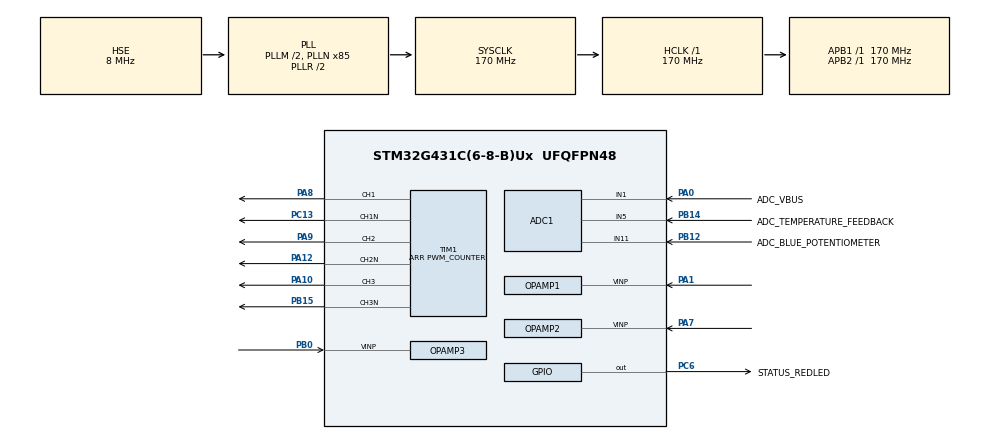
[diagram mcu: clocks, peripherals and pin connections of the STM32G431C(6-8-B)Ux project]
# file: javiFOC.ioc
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ADC1.Channel-0\#ChannelRegularConversion=ADC_CHANNEL_1
ADC1.Channel-1\#ChannelRegularConversion=ADC_CHANNEL_5
ADC1.Channel-2\#ChannelRegularConversion=ADC_CHANNEL_11
ADC1.Channel-3\#ChannelRegularConversion=ADC_CHANNEL_TEMPSENSOR_ADC1
ADC1.Channel-4\#ChannelRegularConversion=ADC_CHANNEL_VREFINT
ADC1.ContinuousConvMode=DISABLE
ADC1.DMAContinuousRequests=ENABLE
ADC1.EOCSelection=ADC_EOC_SEQ_CONV
ADC1.ExternalTrigConv=ADC_EXTERNALTRIG_T15_TRGO
ADC1.NbrOfConversion=5
ADC1.NbrOfConversionFlag=1
ADC1.OffsetNumber-0\#ChannelRegularConversion=ADC_OFFSET_NONE
ADC1.OffsetNumber-1\#ChannelRegularConversion=ADC_OFFSET_NONE
ADC1.OffsetNumber-2\#ChannelRegularConversion=ADC_OFFSET_NONE
ADC1.OffsetNumber-3\#ChannelRegularConversion=ADC_OFFSET_NONE
ADC1.OffsetNumber-4\#ChannelRegularConversion=ADC_OFFSET_NONE
ADC1.Rank-0\#ChannelRegularConversion=1
ADC1.Rank-1\#ChannelRegularConversion=2
ADC1.Rank-2\#ChannelRegularConversion=3
ADC1.Rank-3\#ChannelRegularConversion=4
ADC1.Rank-4\#ChannelRegularConversion=5
ADC1.SamplingTime-0\#ChannelRegularConversion=ADC_SAMPLETIME_24CYCLES_5
ADC1.SamplingTime-1\#ChannelRegularConversion=ADC_SAMPLETIME_24CYCLES_5
ADC1.SamplingTime-2\#ChannelRegularConversion=ADC_SAMPLETIME_24CYCLES_5
ADC1.SamplingTime-3\#ChannelRegularConversion=ADC_SAMPLETIME_24CYCLES_5
ADC1.SamplingTime-4\#ChannelRegularConversion=ADC_SAMPLETIME_24CYCLES_5
ADC1.master=1
ADC2.Channel-0\#ChannelRegularConversion=ADC_CHANNEL_VOPAMP2
ADC2.Channel-1\#ChannelRegularConversion=ADC_CHANNEL_VOPAMP3_ADC2
ADC2.DMAContinuousRequests=ENABLE
ADC2.ExternalTrigConv=ADC_EXTERNALTRIG_T1_TRGO
ADC2.NbrOfConversion=2
ADC2.NbrOfConversionFlag=1
ADC2.OffsetNumber-0\#ChannelRegularConversion=ADC_OFFSET_NONE
ADC2.OffsetNumber-1\#ChannelRegularConversion=ADC_OFFSET_NONE
ADC2.Rank-0\#ChannelRegularConversion=1
ADC2.Rank-1\#ChannelRegularConversion=2
ADC2.SamplingTime-0\#ChannelRegularConversion=ADC_SAMPLETIME_24CYCLES_5
ADC2.SamplingTime-1\#ChannelRegularConversion=ADC_SAMPLETIME_24CYCLES_5
Dma.ADC1.0.Direction=DMA_PERIPH_TO_MEMORY
Dma.ADC1.0.EventEnable=DISABLE
Dma.ADC1.0.Instance=DMA1_Channel1
Dma.ADC1.0.MemDataAlignment=DMA_MDATAALIGN_WORD
Dma.ADC1.0.MemInc=DMA_MINC_ENABLE
Dma.ADC1.0.Mode=DMA_CIRCULAR
Dma.ADC1.0.PeriphDataAlignment=DMA_PDATAALIGN_HALFWORD
Dma.ADC1.0.PeriphInc=DMA_PINC_DISABLE
Dma.ADC1.0.Polarity=HAL_DMAMUX_REQ_GEN_RISING
Dma.ADC1.0.Priority=DMA_PRIORITY_LOW
Dma.ADC1.0.RequestNumber=1
Dma.ADC1.0.SignalID=NONE
Dma.ADC1.0.SyncEnable=DISABLE
Dma.ADC1.0.SyncPolarity=HAL_DMAMUX_SYNC_NO_EVENT
Dma.ADC1.0.SyncRequestNumber=1
Dma.ADC1.0.SyncSignalID=NONE
Dma.ADC2.1.Direction=DMA_PERIPH_TO_MEMORY
Dma.ADC2.1.EventEnable=DISABLE
Dma.ADC2.1.Instance=DMA1_Channel2
Dma.ADC2.1.MemDataAlignment=DMA_MDATAALIGN_WORD
Dma.ADC2.1.MemInc=DMA_MINC_ENABLE
Dma.ADC2.1.Mode=DMA_CIRCULAR
Dma.ADC2.1.PeriphDataAlignment=DMA_PDATAALIGN_HALFWORD
Dma.ADC2.1.PeriphInc=DMA_PINC_DISABLE
Dma.ADC2.1.Polarity=HAL_DMAMUX_REQ_GEN_RISING
Dma.ADC2.1.Priority=DMA_PRIORITY_LOW
Dma.ADC2.1.RequestNumber=1
Dma.ADC2.1.SignalID=NONE
Dma.ADC2.1.SyncEnable=DISABLE
Dma.ADC2.1.SyncPolarity=HAL_DMAMUX_SYNC_NO_EVENT
Dma.ADC2.1.SyncRequestNumber=1
Dma.ADC2.1.SyncSignalID=NONE
Dma.Request0=ADC1
Dma.Request1=ADC2
Mcu.Family=STM32G4
Mcu.Name=STM32G431C(6-8-B)Ux
Mcu.Package=UFQFPN48
Mcu.UserConstants=PWM_PREESCALER,17-1;PWM_COUNTER,250-1;SLOW_ADC_PREESCALER,17000-1;PWM_DEADTIME,37;SLOW_ADC_COUNTER,100-1
NVIC.DMA1_Channel1_IRQn=true\:0\:0\:false\:false\:true\:false\:true\:true
NVIC.DMA1_Channel2_IRQn=true\:0\:0\:false\:false\:true\:false\:true\:true
NVIC.PriorityGroup=NVIC_PRIORITYGROUP_4
NVIC.TIM1_UP_TIM16_IRQn=true\:0\:0\:false\:false\:true\:true\:true\:true
OPAMP1.PgaGain=OPAMP_PGA_GAIN_8_OR_MINUS_7
OPAMP2.PgaGain=OPAMP_PGA_GAIN_8_OR_MINUS_7
OPAMP3.PgaGain=OPAMP_PGA_GAIN_8_OR_MINUS_7
PA0.GPIO_Label=ADC_VBUS
PA0.Mode=IN1-Single-Ended
PA0.Signal=ADC1_IN1
PA1.Mode=PGA_Internally_Connected
PA1.Signal=OPAMP1_VINP
PA10.Signal=S_TIM1_CH3
PA12.Mode=PWM Generation2 CH2 CH2N
PA12.Signal=TIM1_CH2N
PA13.Mode=Serial_Wire
PA13.Signal=SYS_JTMS-SWDIO
PA14.Mode=Serial_Wire
PA14.Signal=SYS_JTCK-SWCLK
PA7.Mode=PGA_Internally_Connected
PA7.Signal=OPAMP2_VINP
PA8.Signal=S_TIM1_CH1
PA9.Signal=S_TIM1_CH2
PB0.Mode=PGA_Internally_Connected
PB0.Signal=OPAMP3_VINP
PB12.GPIO_Label=ADC_BLUE_POTENTIOMETER
PB12.Mode=IN11-Single-Ended
PB12.Signal=ADC1_IN11
PB14.GPIO_Label=ADC_TEMPERATURE_FEEDBACK
PB14.Mode=IN5-Single-Ended
PB14.Signal=ADC1_IN5
PB15.Mode=PWM Generation3 CH3 CH3N
PB15.Signal=TIM1_CH3N
PC13.Mode=PWM Generation1 CH1 CH1N
PC13.Signal=TIM1_CH1N
PC6.GPIO_Label=STATUS_REDLED
PC6.GPIO_PuPd=GPIO_PULLDOWN
PC6.Signal=GPIO_Output
PF0-OSC_IN.Mode=HSE-External-Oscillator
PF0-OSC_IN.Signal=RCC_OSC_IN
PF1-OSC_OUT.Mode=HSE-External-Oscillator
PF1-OSC_OUT.Signal=RCC_OSC_OUT
ProjectManager.HeapSize=0x200
ProjectManager.StackSize=0x400
ProjectManager.TargetToolchain=STM32CubeIDE
RCC.ADC12Freq_Value=170000000
RCC.AHBFreq_Value=170000000
RCC.APB1Freq_Value=170000000
RCC.APB1TimFreq_Value=170000000
RCC.APB2Freq_Value=170000000
RCC.APB2TimFreq_Value=170000000
RCC.CortexFreq_Value=170000000
RCC.EXTERNAL_CLOCK_VALUE=12288000
RCC.HCLKFreq_Value=170000000
RCC.HSE_VALUE=8000000
RCC.HSI48_VALUE=48000000
RCC.HSI_VALUE=16000000
RCC.LSE_VALUE=32768
RCC.PLLM=RCC_PLLM_DIV2
RCC.PLLN=85
RCC.PLLSourceVirtual=RCC_PLLSOURCE_HSE
RCC.SYSCLKFreq_VALUE=170000000
RCC.SYSCLKSource=RCC_SYSCLKSOURCE_PLLCLK
RCC.USBFreq_Value=170000000
RCC.VCOOutputFreq_Value=340000000
SH.S_TIM1_CH1.0=TIM1_CH1,PWM Generation1 CH1 CH1N
SH.S_TIM1_CH2.0=TIM1_CH2,PWM Generation2 CH2 CH2N
SH.S_TIM1_CH3.0=TIM1_CH3,PWM Generation3 CH3 CH3N
TIM1.Channel-PWM\ Generation1\ CH1\ CH1N=TIM_CHANNEL_1
TIM1.Channel-PWM\ Generation2\ CH2\ CH2N=TIM_CHANNEL_2
TIM1.Channel-PWM\ Generation3\ CH3\ CH3N=TIM_CHANNEL_3
TIM1.CounterMode=TIM_COUNTERMODE_CENTERALIGNED1
TIM1.DeadTime=PWM_DEADTIME
TIM1.PeriodNoDither=PWM_COUNTER
TIM1.Prescaler=PWM_PREESCALER
TIM1.TIM_MasterOutputTrigger=TIM_TRGO_UPDATE
TIM15.PeriodNoDither=SLOW_ADC_COUNTER
TIM15.Prescaler=SLOW_ADC_PREESCALER
TIM15.TIM_MasterOutputTrigger=TIM_TRGO_UPDATE
VP_ADC1_OPAMP_INTERNAL1.Mode=IN-OPAMP1
VP_ADC1_TempSens_Input.Mode=IN-TempSens
VP_ADC1_Vref_Input.Mode=IN-Vrefint
VP_ADC2_OPAMP_INTERNAL2.Mode=IN-OPAMP2
VP_ADC2_OPAMP_INTERNAL3.Mode=IN-OPAMP3
VP_SYS_VS_DBSignals.Mode=DisableDeadBatterySignals
VP_TIM15_VS_ClockSourceINT.Mode=Internal
VP_TIM1_VS_ClockSourceINT.Mode=Internal
board=custom

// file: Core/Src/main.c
/* USER CODE BEGIN Header */
/**
  ******************************************************************************
  * @file           : main.c
  * @brief          : Main program body
  ******************************************************************************
  * @attention
  *
  * Copyright (c) 2024 STMicroelectronics.
  * All rights reserved.
  *
  * This software is licensed under terms that can be found in the LICENSE file
  * in the root directory of this software component.
  * If no LICENSE file comes with this software, it is provided AS-IS.
  *
  ******************************************************************************
  */
/* USER CODE END Header */
#include "main.h"
#include "adc.h"
#include "dma.h"
#include "opamp.h"
#include "tim.h"
#include "gpio.h"

/* USER CODE BEGIN Includes */
#include "hardware_pwm.h"
#include "hardware_adc.h"
#include "vabctoduty.h"
#include "angle_estimator.h"
#include "hardware_opamp.h"
/* USER CODE END Includes */

/* USER CODE BEGIN PV */
uint32_t superloop_delay_ms=1;
/* USER CODE END PV */

void SystemClock_Config(void);

int main(void)
{

  /* MCU Configuration--------------------------------------------------------*/

  /* Reset of all peripherals, Initializes the Flash interface and the Systick. */
  HAL_Init();

  /* Configure the system clock */
  SystemClock_Config();

  /* Initialize all configured peripherals */
  MX_GPIO_Init();
  MX_DMA_Init();
  MX_TIM1_Init();
  MX_ADC1_Init();
  MX_TIM15_Init();
  MX_ADC2_Init();
  MX_OPAMP1_Init();
  MX_OPAMP2_Init();
  MX_OPAMP3_Init();
  /* USER CODE BEGIN 2 */

  configure_vabc_to_duty_modulator();
  configureHardwareOpAmp(&hopamp1, &hopamp2, &hopamp3);
  configureSlowHardwareADC(&hadc1,&htim15);
  configureFastHardwareADC(&hadc2);
  configureHardwarePWM(&htim1,TIM_CHANNEL_1,TIM_CHANNEL_2,TIM_CHANNEL_3);
  /* USER CODE END 2 */

  /* Infinite loop */
  /* USER CODE BEGIN WHILE */

  while (1)
  {
	  HAL_Delay(superloop_delay_ms);

		 sin_index+=20*adc_variables.bluepotentiometer;
		 cos_index+=20*adc_variables.bluepotentiometer;

		 sector=Calculate_SVPWM_sector_from_index(sin_index);
    /* USER CODE END WHILE */

  }
}

void SystemClock_Config(void)
{
  RCC_OscInitTypeDef RCC_OscInitStruct = {0};
  RCC_ClkInitTypeDef RCC_ClkInitStruct = {0};

  /** Configure the main internal regulator output voltage
  */
  HAL_PWREx_ControlVoltageScaling(PWR_REGULATOR_VOLTAGE_SCALE1_BOOST);

  /** Initializes the RCC Oscillators according to the specified parameters
  * in the RCC_OscInitTypeDef structure.
  */
  RCC_OscInitStruct.OscillatorType = RCC_OSCILLATORTYPE_HSE;
  RCC_OscInitStruct.HSEState = RCC_HSE_ON;
  RCC_OscInitStruct.PLL.PLLState = RCC_PLL_ON;
  RCC_OscInitStruct.PLL.PLLSource = RCC_PLLSOURCE_HSE;
  RCC_OscInitStruct.PLL.PLLM = RCC_PLLM_DIV2;
  RCC_OscInitStruct.PLL.PLLN = 85;
  RCC_OscInitStruct.PLL.PLLP = RCC_PLLP_DIV2;
  RCC_OscInitStruct.PLL.PLLQ = RCC_PLLQ_DIV2;
  RCC_OscInitStruct.PLL.PLLR = RCC_PLLR_DIV2;
  if (HAL_RCC_OscConfig(&RCC_OscInitStruct) != HAL_OK)
  {
    Error_Handler();
  }

  /** Initializes the CPU, AHB and APB buses clocks
  */
  RCC_ClkInitStruct.ClockType = RCC_CLOCKTYPE_HCLK|RCC_CLOCKTYPE_SYSCLK
                              |RCC_CLOCKTYPE_PCLK1|RCC_CLOCKTYPE_PCLK2;
  RCC_ClkInitStruct.SYSCLKSource = RCC_SYSCLKSOURCE_PLLCLK;
  RCC_ClkInitStruct.AHBCLKDivider = RCC_SYSCLK_DIV1;
  RCC_ClkInitStruct.APB1CLKDivider = RCC_HCLK_DIV1;
  RCC_ClkInitStruct.APB2CLKDivider = RCC_HCLK_DIV1;

  if (HAL_RCC_ClockConfig(&RCC_ClkInitStruct, FLASH_LATENCY_4) != HAL_OK)
  {
    Error_Handler();
  }
}

void Error_Handler(void)
{
  __disable_irq();
  while (1)
  {
  }
}
